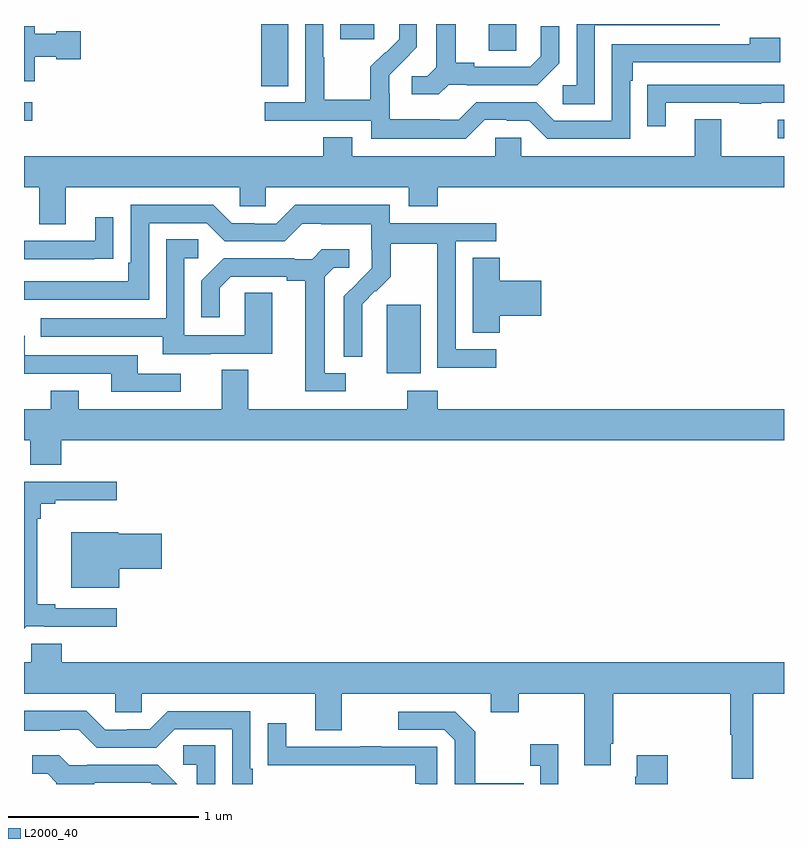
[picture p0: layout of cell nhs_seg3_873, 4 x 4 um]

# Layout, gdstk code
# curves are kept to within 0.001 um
import gdstk
lib = gdstk.Library(unit=1e-6, precision=1e-09)
def R(c, l, rs):  # rectangles x0, y0, x1, y1
    for r in rs: c.add(gdstk.rectangle(r[:2], r[2:], *l))
def P(c, l, *ps):  # polygons
    for p in ps: c.add(gdstk.Polygon(p, *l))
L2000_40 = (2000, 40)

nhs_seg3_873 = lib.new_cell('nhs_seg3_873')
R(nhs_seg3_873, L2000_40, [(156.908,742.562,157.087,742.923), (158.967,743.799,159,743.895), (155,743.891,155.044,743.988), (156.248,744.073,156.391,744.4), (157.445,744.259,157.59,744.4), (156.665,744.321,156.844,744.4)])
P(nhs_seg3_873, L2000_40, [(158.004,744.393),(158.663,744.393),(158.663,744.4),(157.908,744.4),(157.908,744.078),(157.836,744.078),(157.836,743.977),(158.004,743.977)],
  [(157.236,744.081),(157.33,744.081),(157.33,744.078),(157.702,744.078),(157.818,744.194),(157.818,744.388),(157.721,744.388),(157.721,744.231),(157.664,744.174),(157.369,744.174),(157.369,744.197),(157.273,744.197),(157.273,744.4),(157.169,744.4),(157.169,744.173),(157.122,744.126),(157.041,744.126),(157.041,744.029),(157.184,744.029)],
  [(157.425,743.895),(157.541,743.895),(157.541,743.892),(157.659,743.892),(157.755,743.796),(158.19,743.796),(158.19,744.101),(158.203,744.101),(158.203,744.198),(158.98,744.198),(158.98,744.328),(158.819,744.328),(158.819,744.294),(158.094,744.294),(158.094,743.892),(157.791,743.892),(157.695,743.988),(157.38,743.988),(157.287,743.895),(157.187,743.895),(157.187,743.899),(156.924,743.899),(156.924,744.033),(156.922,744.033),(156.922,744.13),(157.068,744.278),(157.068,744.4),(156.974,744.4),(156.974,744.32),(156.903,744.249),(156.9,744.252),(156.823,744.175),(156.823,744.001),(156.579,744.001),(156.579,744.224),(156.576,744.224),(156.576,744.4),(156.48,744.4),(156.48,743.988),(156.267,743.988),(156.267,743.892),(156.828,743.892),(156.828,743.795),(157.325,743.795)],
  [(155.056,744.227),(155.169,744.227),(155.169,744.215),(155.299,744.215),(155.299,744.362),(155.169,744.362),(155.169,744.349),(155.056,744.349),(155.056,744.388),(155,744.388),(155,744.098),(155.056,744.098)],
  [(158.377,743.985),(158.767,743.985),(158.767,743.98),(158.879,743.98),(158.879,743.985),(159,743.985),(159,744.081),(158.383,744.081),(158.383,744.08),(158.281,744.08),(158.281,743.862),(158.377,743.862)],
  [(155.221,743.54),(156.135,743.54),(156.135,743.442),(156.273,743.442),(156.273,743.54),(157.025,743.54),(157.025,743.441),(157.178,743.441),(157.178,743.54),(159,743.54),(159,743.704),(158.671,743.704),(158.671,743.899),(158.531,743.899),(158.531,743.704),(157.617,743.704),(157.617,743.802),(157.479,743.802),(157.479,743.704),(156.727,743.704),(156.727,743.803),(156.575,743.803),(156.575,743.704),(155,743.704),(155,743.54),(155.081,743.54),(155.081,743.346),(155.221,743.346)],
  [(157.486,742.689),(157.272,742.689),(157.272,743.256),(157.486,743.256),(157.486,743.352),(156.924,743.352),(156.924,743.449),(156.427,743.449),(156.327,743.349),(156.212,743.349),(156.212,743.352),(156.093,743.352),(155.997,743.448),(155.562,743.448),(155.562,743.143),(155.549,743.143),(155.549,743.046),(155,743.046),(155,742.95),(155.658,742.95),(155.658,743.352),(155.961,743.352),(156.057,743.256),(156.372,743.256),(156.465,743.349),(156.565,743.349),(156.565,743.345),(156.828,743.345),(156.828,743.211),(156.83,743.211),(156.83,743.114),(156.684,742.966),(156.684,742.648),(156.78,742.648),(156.779,742.925),(156.849,742.995),(156.852,742.992),(156.929,743.069),(156.929,743.244),(157.174,743.244),(157.174,743.02),(157.176,743.02),(157.176,742.591),(157.486,742.591)],
  [(155.369,743.164),(155.471,743.164),(155.471,743.383),(155.375,743.383),(155.375,743.259),(155,743.259),(155,743.163),(155.369,743.163)],
  [(155.983,742.665),(156.307,742.665),(156.307,742.985),(156.162,742.985),(156.162,742.761),(155.844,742.761),(155.844,743.166),(155.917,743.166),(155.917,743.267),(155.748,743.267),(155.748,742.851),(155.089,742.851),(155.089,742.755),(155.729,742.755),(155.729,742.661),(155.983,742.661)],
  [(156.694,742.563),(156.583,742.563),(156.583,743.071),(156.63,743.118),(156.712,743.118),(156.712,743.215),(156.568,743.215),(156.516,743.163),(156.422,743.163),(156.422,743.166),(156.05,743.166),(155.934,743.05),(155.934,742.857),(156.031,742.857),(156.031,743.013),(156.088,743.07),(156.383,743.07),(156.383,743.048),(156.479,743.048),(156.479,742.467),(156.694,742.467)],
  [(157.505,742.865),(157.723,742.865),(157.723,743.048),(157.505,743.048),(157.505,743.171),(157.361,743.171),(157.361,742.774),(157.505,742.774)],
  [(155.824,742.56),(155.599,742.56),(155.599,742.656),(155.004,742.656),(155.004,742.759),(155,742.759),(155,742.56),(155.459,742.56),(155.459,742.464),(155.824,742.464)],
  [(155.197,742.208),(159,742.208),(159,742.372),(157.178,742.372),(157.178,742.471),(157.018,742.471),(157.018,742.372),(156.181,742.372),(156.181,742.58),(156.041,742.58),(156.041,742.372),(155.287,742.372),(155.287,742.471),(155.14,742.471),(155.14,742.372),(155,742.372),(155,742.208),(155.033,742.208),(155.033,742.08),(155.197,742.08)],
  [(155.013,741.231),(155.107,741.231),(155.107,741.227),(155.488,741.227),(155.488,741.324),(155.164,741.324),(155.164,741.347),(155.069,741.347),(155.069,741.797),(155.087,741.797),(155.087,741.874),(155.164,741.874),(155.164,741.893),(155.488,741.893),(155.488,741.99),(155,741.99),(155,741.218)],
  [(155.5,741.533),(155.725,741.533),(155.725,741.716),(155.496,741.716),(155.496,741.724),(155.249,741.724),(155.249,741.434),(155.5,741.434)],
  [(158.839,740.876),(159,740.876),(159,741.04),(155.198,741.04),(155.198,741.138),(155.038,741.138),(155.038,741.04),(155,741.04),(155,740.876),(155.481,740.876),(155.481,740.778),(155.619,740.778),(155.619,740.876),(156.533,740.876),(156.533,740.682),(156.673,740.682),(156.673,740.876),(157.457,740.876),(157.457,740.777),(157.605,740.777),(157.605,740.876),(157.949,740.876),(157.949,740.499),(158.089,740.499),(158.089,740.611),(158.102,740.611),(158.102,740.876),(158.718,740.876),(158.718,740.66),(158.725,740.66),(158.725,740.427),(158.839,740.427)],
  [(156.205,740.479),(156.192,740.479),(156.192,740.784),(155.757,740.784),(155.661,740.688),(155.543,740.688),(155.543,740.685),(155.427,740.685),(155.327,740.785),(155,740.785),(155,740.681),(155.189,740.681),(155.189,740.685),(155.289,740.685),(155.382,740.592),(155.697,740.592),(155.793,740.688),(156.096,740.688),(156.096,740.4),(156.205,740.4)],
  [(157.631,740.403),(157.375,740.403),(157.375,740.675),(157.269,740.781),(156.969,740.781),(156.969,740.685),(157.212,740.685),(157.266,740.631),(157.266,740.4),(157.631,740.4)],
  [(157.176,740.595),(156.881,740.595),(156.881,740.6),(156.769,740.6),(156.769,740.595),(156.379,740.595),(156.379,740.719),(156.283,740.719),(156.283,740.5),(156.385,740.5),(156.385,740.499),(157.06,740.499),(157.06,740.402),(157.08,740.402),(157.08,740.4),(157.176,740.4)],
  [(157.813,740.608),(157.665,740.608),(157.665,740.495),(157.716,740.495),(157.716,740.4),(157.813,740.4)],
  [(156.006,740.603),(155.838,740.603),(155.838,740.502),(155.91,740.502),(155.91,740.4),(156.006,740.4)],
  [(155.371,740.406),(155.666,740.406),(155.672,740.4),(155.806,740.4),(155.704,740.502),(155.332,740.502),(155.332,740.499),(155.238,740.499),(155.186,740.551),(155.043,740.551),(155.043,740.454),(155.124,740.454),(155.171,740.407),(155.171,740.4),(155.371,740.4)],
  [(158.388,740.551),(158.225,740.551),(158.225,740.438),(158.218,740.438),(158.218,740.4),(158.388,740.4)])

lib.write_gds('nhs_seg3_873.gds')
